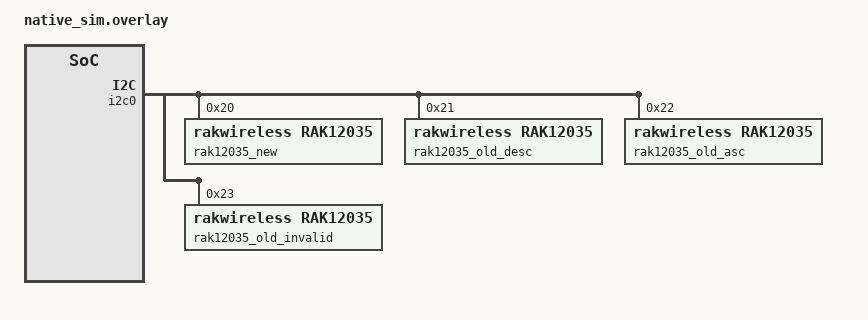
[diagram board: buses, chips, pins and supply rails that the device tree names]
/*
 * Copyright (c) 2026 RAKwireless Technology Limited
 *
 * SPDX-License-Identifier: Apache-2.0
 */

&i2c0 {
	status = "okay";

	rak12035_new: rak12035@20 {
		compatible = "rakwireless,rak12035";
		reg = <0x20>;
	};

	rak12035_old_desc: rak12035@21 {
		compatible = "rakwireless,rak12035";
		reg = <0x21>;
	};

	rak12035_old_asc: rak12035@22 {
		compatible = "rakwireless,rak12035";
		reg = <0x22>;
	};

	rak12035_old_invalid: rak12035@23 {
		compatible = "rakwireless,rak12035";
		reg = <0x23>;
	};
};

/ {
	aliases {
		rak12035-new = &rak12035_new;
		rak12035-old-desc = &rak12035_old_desc;
		rak12035-old-asc = &rak12035_old_asc;
		rak12035-old-invalid = &rak12035_old_invalid;
	};
};
